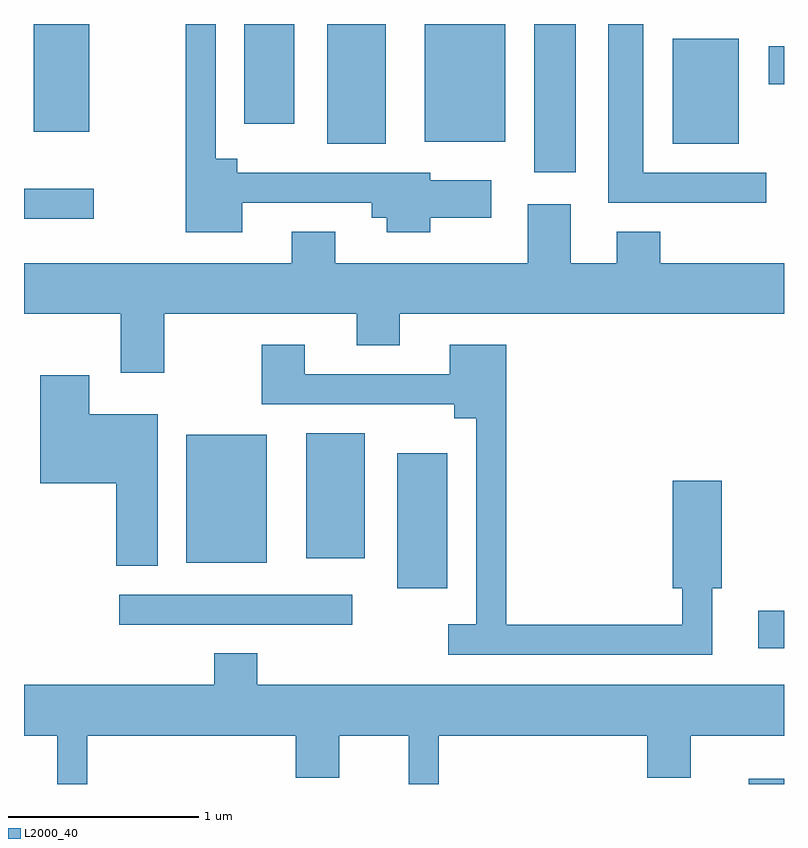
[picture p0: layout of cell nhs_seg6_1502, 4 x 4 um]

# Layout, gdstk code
import gdstk
lib = gdstk.Library(unit=1e-6, precision=1e-09)
def R(c, l, rs):  # rectangles x0, y0, x1, y1
    for r in rs: c.add(gdstk.rectangle(r[:2], r[2:], *l))
def P(c, l, *ps):  # polygons
    for p in ps: c.add(gdstk.Polygon(p, *l))
L2000_40 = (2000, 40)

nhs_seg6_1502 = lib.new_cell('nhs_seg6_1502')
R(nhs_seg6_1502, L2000_40, [(233.426,1614.162,233.611,1614.189), (233.476,1614.876,233.611,1615.074), (230.113,1615.001,231.338,1615.159), (231.576,1615.191,231.839,1615.904), (230.466,1615.326,230.889,1615.999), (231.096,1615.351,231.404,1616.009), (229.611,1617.136,229.978,1617.294), (232.296,1617.381,232.514,1618.162), (231.206,1617.531,231.514,1618.162), (233.026,1617.531,233.374,1618.084), (231.721,1617.541,232.144,1618.162), (229.661,1617.596,229.954,1618.162), (230.771,1617.636,231.034,1618.162), (233.531,1617.846,233.611,1618.044)])
P(nhs_seg6_1502, L2000_40, [(233.518,1617.379),(232.869,1617.379),(232.869,1618.162),(232.686,1618.162),(232.686,1617.221),(233.518,1617.221)],
  [(230.759,1617.221),(231.441,1617.221),(231.441,1617.141),(231.521,1617.141),(231.521,1617.066),(231.749,1617.066),(231.749,1617.141),(232.069,1617.141),(232.069,1617.339),(231.749,1617.339),(231.749,1617.379),(230.734,1617.379),(230.734,1617.454),(230.619,1617.454),(230.619,1618.162),(230.461,1618.162),(230.461,1617.066),(230.759,1617.066)],
  [(230.349,1616.636),(231.361,1616.636),(231.361,1616.471),(231.589,1616.471),(231.589,1616.636),(233.611,1616.636),(233.611,1616.904),(232.959,1616.904),(232.959,1617.069),(232.731,1617.069),(232.731,1616.904),(232.489,1616.904),(232.489,1617.214),(232.261,1617.214),(232.261,1616.904),(231.249,1616.904),(231.249,1617.069),(231.021,1617.069),(231.021,1616.904),(229.611,1616.904),(229.611,1616.636),(230.121,1616.636),(230.121,1616.326),(230.349,1616.326)],
  [(233.234,1615.191),(233.284,1615.191),(233.284,1615.759),(233.026,1615.759),(233.026,1615.191),(233.076,1615.191),(233.076,1614.999),(232.149,1614.999),(232.149,1616.474),(231.851,1616.474),(231.851,1616.319),(231.089,1616.319),(231.089,1616.474),(230.861,1616.474),(230.861,1616.161),(231.876,1616.161),(231.876,1616.086),(231.991,1616.086),(231.991,1615.004),(231.843,1615.004),(231.843,1614.841),(233.234,1614.841)],
  [(230.314,1616.109),(229.954,1616.109),(229.954,1616.314),(229.696,1616.314),(229.696,1615.746),(230.096,1615.746),(230.096,1615.311),(230.314,1615.311)],
  [(229.944,1614.416),(231.041,1614.416),(231.041,1614.196),(231.269,1614.196),(231.269,1614.416),(231.636,1614.416),(231.636,1614.162),(231.794,1614.162),(231.794,1614.416),(232.891,1614.416),(232.891,1614.196),(233.119,1614.196),(233.119,1614.416),(233.611,1614.416),(233.611,1614.684),(230.839,1614.684),(230.839,1614.849),(230.611,1614.849),(230.611,1614.684),(229.611,1614.684),(229.611,1614.416),(229.786,1614.416),(229.786,1614.162),(229.944,1614.162)])

lib.write_gds('nhs_seg6_1502.gds')
